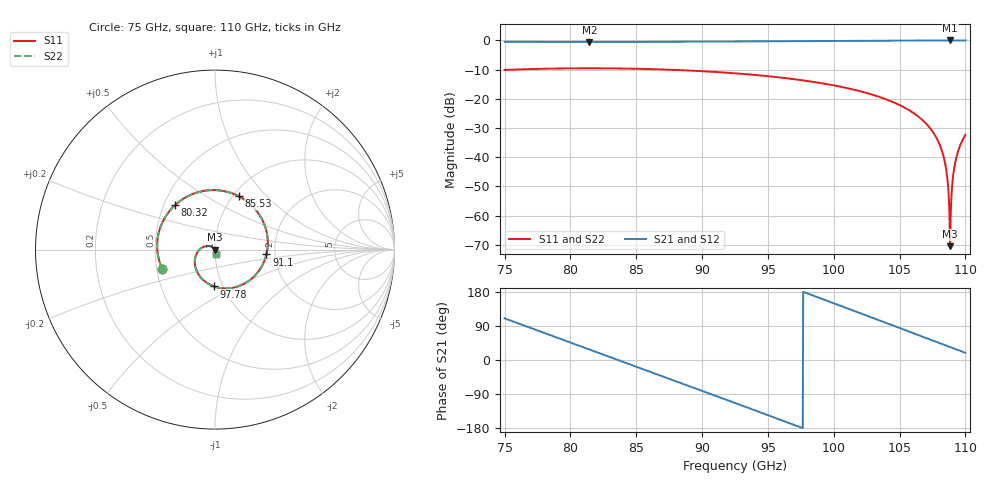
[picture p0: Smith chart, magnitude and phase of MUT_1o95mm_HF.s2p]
! TOUCHSTONE file generated by CST MICROWAVE STUDIO
! Date and time: Fri Feb  2 21:30:06 2024
! Project name: material_prueba.cst
! Header version: 2018
! Port assignment regex: !\s*Touchstone port\s*([0-9]+)\s*=\s*(CST MWS port|CST DS port)\s*([0-9]+|Zmin|Zmax)\s*\(\"(.*)\"\)(\s*mode\s*([0-9]+))?.*
! Touchstone port assignment:
! Touchstone port 1 = CST MWS port 1 ("")
! Touchstone port 2 = CST MWS port 2 ("")
# GHz S MA R 376.7
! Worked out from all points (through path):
!   1001 points, 75 GHz to 110 GHz, reference 376.7 ohm
!   highest |S21| = 0.00 dB at 108.8 GHz (marker M1); lowest = -0.5 dB at 81.44 GHz (marker M2)
!   group delay of S21, straight-line fit = 35.8 ps
!   lowest |S11| = -70.5 dB at 108.8 GHz (marker M3), VSWR 1.00, Z = 377 - j0.202 ohm
!   |S11| at or under -10 dB: start of sweep to 75.57 GHz; 87.39 GHz to end of sweep
!   |S22| runs from -70.6 to -9.5 dB; largest |S21 - S12| = 0
!   S11 on the Smith chart (normalised r, x): 75 GHz: 0.54, -0.13; 80.32 GHz: 0.57, +0.32; 85.53 GHz: 1.07, +0.71; 91.1 GHz: 1.80, -0.11; 97.78 GHz: 0.91, -0.39; 110 GHz: 1.01, -0.05
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75  0.3127 -160.1  0.9499 109.9  0.9499 109.9  0.3127 -160.1
77.59  0.3262 166.9  0.9453 76.8  0.9453 76.8  0.3262 166.9
80.32  0.3332 132.1  0.9429 42.1  0.9429 42.1  0.3332 132.1
80.845  0.3336 125.4  0.9427 35.4  0.9427 35.4  0.3336 125.4
81.44  0.3338 117.8  0.9426 27.8  0.9426 27.8  0.3338 117.8
85.535  0.3255 65.7  0.9456 -24.3  0.9456 -24.3  0.3255 65.7
86.69  0.3201 51.0  0.9474 -39.0  0.9474 -39.0  0.3201 51.0
91.1  0.2878 -5.4  0.9577 -95.4  0.9577 -95.4  0.2878 -5.4
92.5  0.2738 -23.4  0.9618 -113.4  0.9618 -113.4  0.2738 -23.4
95.335  0.24 -59.9  0.9708 -149.9  0.9708 -149.9  0.24 -59.9
97.785  0.2054 -91.6  0.9787 178.4  0.9787 178.4  0.2054 -91.6
98.345  0.1968 -98.8  0.9805 171.2  0.9805 171.2  0.1968 -98.8
101.565  0.1429 -140.7  0.9897 129.3  0.9897 129.3  0.1429 -140.7
104.19  0.09404 -174.9  0.9956 95.0  0.9956 95.0  0.09404 -175.0
106.325  0.05172 157.3  0.9987 67.1  0.9987 67.1  0.05172 156.9
107.69  0.02379 139.8  0.9997 49.2  0.9997 49.2  0.02379 138.7
108.39  0.009302 131.6  1 40.1  1 40.1  0.009303 128.5
108.565  0.005672 130.3  1 37.8  1 37.8  0.005673 125.2
108.705  0.002771 131.2  1 35.9  1 35.9  0.002772 120.7
108.845  0.0002992 -116.1  1 34.1  1 34.1  0.0002955 4.2
109.3  0.009603 -63.5  1 28.1  1 28.1  0.009602 -60.3
110  0.0241 -71.7  0.9997 19.0  0.9997 19.0  0.0241 -70.4
